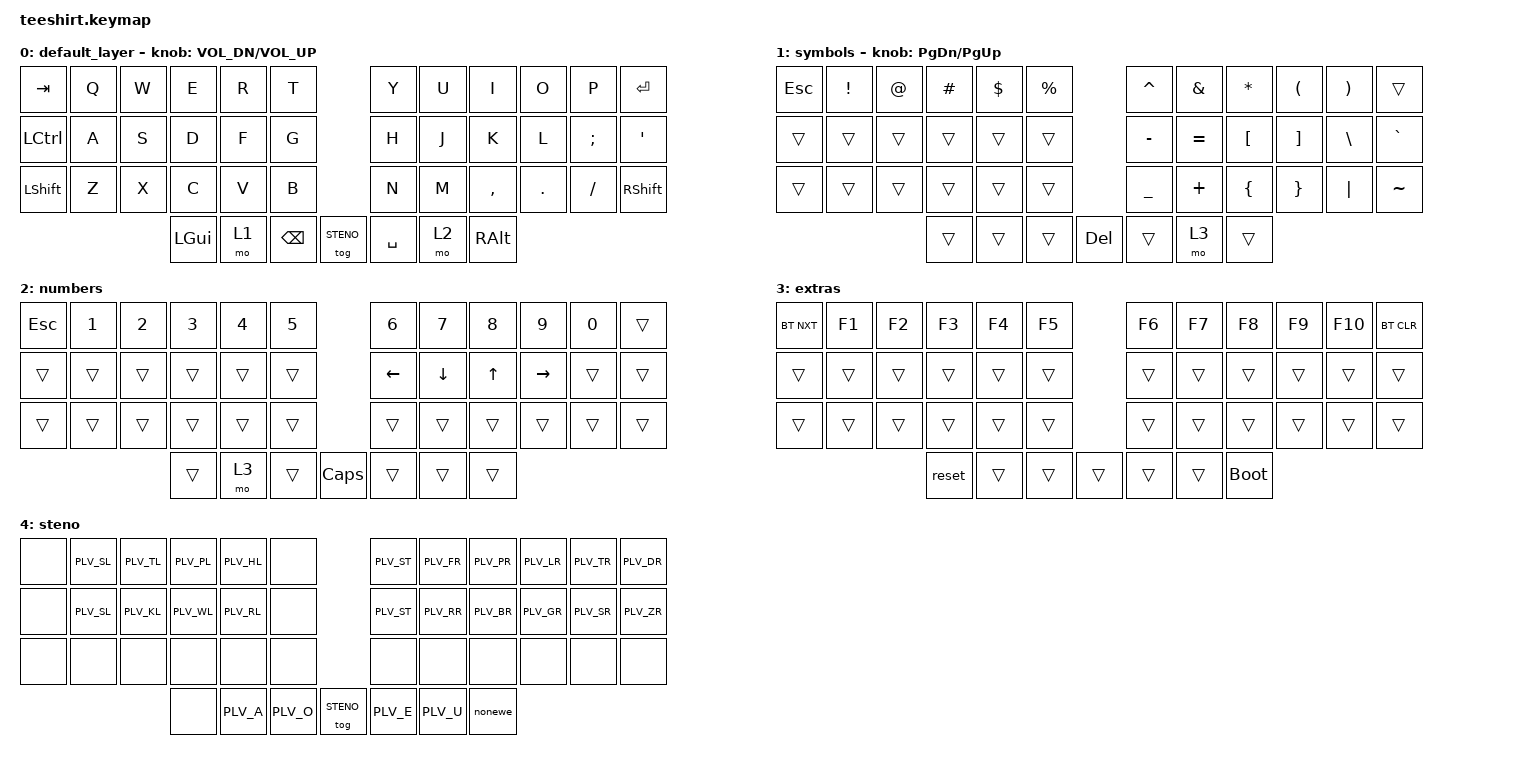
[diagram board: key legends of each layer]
/*
 * Copyright (c) 2020 The ZMK Contributors
 *
 * SPDX-License-Identifier: MIT
 */

#include <behaviors.dtsi>
#include <dt-bindings/zmk/keys.h>
#include <dt-bindings/zmk/bt.h>

#define DEFAULT 0
#define SYM     1
#define NUM     2
#define EXT     3
#define STENO   4

/ {
    keymap {
        compatible = "zmk,keymap";

        default_layer {
            bindings = <
    &kp TAB   &kp Q     &kp W     &kp E     &kp R     &kp T               &kp Y     &kp U     &kp I     &kp O     &kp P     &kp RET
    &kp LCTRL &kp A     &kp S     &kp D     &kp F     &kp G               &kp H     &kp J     &kp K     &kp L     &kp SEMI  &kp APOS
    &kp LSHFT &kp Z     &kp X     &kp C     &kp V     &kp B               &kp N     &kp M     &kp COMMA &kp DOT   &kp FSLH  &kp RSHFT
                                  &kp LGUI  &mo 1     &kp BSPC &tog STENO &kp SPACE &mo 2     &kp RALT
            >;
            sensor-bindings = <&inc_dec_kp C_VOL_DN C_VOL_UP>;
        };
        
        symbols {
            bindings = <
    &kp ESC   &kp EXCL  &kp AT    &kp HASH  &kp DLLR  &kp PRCNT           &kp CARET &kp AMPS  &kp ASTRK &kp LPAR  &kp RPAR  &trans
    &trans    &trans    &trans    &trans    &trans    &trans              &kp MINUS &kp EQUAL &kp LBKT  &kp RBKT  &kp BSLH  &kp GRAVE
    &trans    &trans    &trans    &trans    &trans    &trans              &kp UNDER &kp PLUS  &kp LBRC  &kp RBRC  &kp PIPE  &kp TILDE
                                  &trans    &trans    &trans    &kp DEL   &trans    &mo 3     &trans
            >;
            sensor-bindings = <&inc_dec_kp PG_DN PG_UP>;
        };

        numbers {
            bindings = <
    &kp ESC   &kp N1    &kp N2    &kp N3    &kp N4    &kp N5              &kp N6    &kp N7    &kp N8    &kp N9    &kp N0    &trans
    &trans    &trans    &trans    &trans    &trans    &trans              &kp LEFT  &kp DOWN  &kp UP    &kp RIGHT &trans    &trans
    &trans    &trans    &trans    &trans    &trans    &trans              &trans    &trans    &trans    &trans    &trans    &trans
                                  &trans    &mo 3     &trans    &kp CAPS  &trans    &trans    &trans 
            >;
        };

        extras {
            bindings = <
    &bt BT_NXT &kp F1   &kp F2    &kp F3    &kp F4    &kp F5              &kp F6    &kp F7    &kp F8    &kp F9    &kp F10   &bt BT_CLR
    &trans    &trans    &trans    &trans    &trans    &trans              &trans    &trans    &trans    &trans    &trans    &trans
    &trans    &trans    &trans    &trans    &trans    &trans              &trans    &trans    &trans    &trans    &trans    &trans
                                  &reset    &trans    &trans    &trans    &trans    &trans    &bootloader
            >;
        };

        steno {
            bindings = <
    &none     &kp PLV_SL &kp PLV_TL &kp PLV_PL &kp PLV_HL &none               &kp PLV_ST &kp PLV_FR &kp PLV_PR &kp PLV_LR &kp PLV_TR &kp PLV_DR
    &none     &kp PLV_SL &kp PLV_KL &kp PLV_WL &kp PLV_RL &none               &kp PLV_ST &kp PLV_RR &kp PLV_BR &kp PLV_GR &kp PLV_SR &kp PLV_ZR
    &none     &none      &none      &none      &none      &none               &none      &none      &none      &none      &none      &none 
                                    &none      &kp PLV_A  &kp PLV_O &tog STENO &kp PLV_E &kp PLV_U &nonewe
            >;
        };
    };
};
